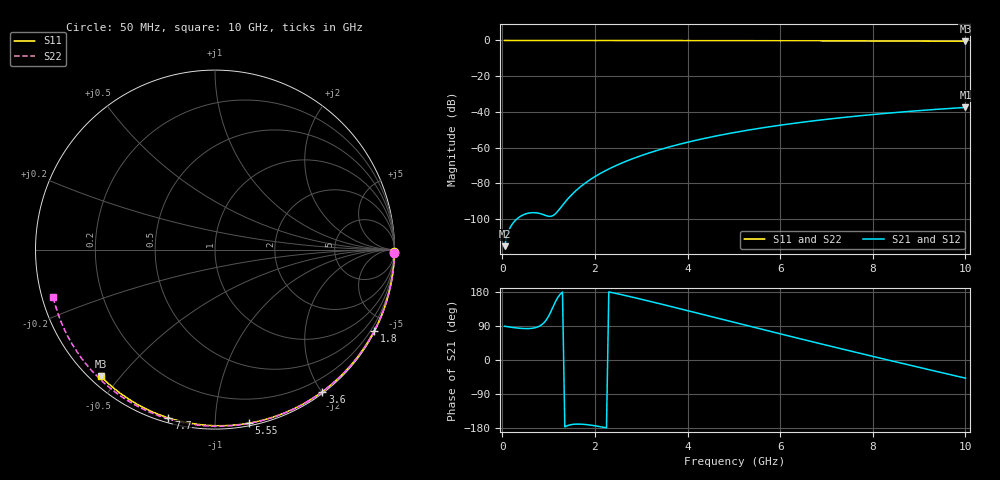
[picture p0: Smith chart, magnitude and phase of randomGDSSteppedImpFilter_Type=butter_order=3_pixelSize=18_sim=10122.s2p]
! freq	dB(S11)	phase(S11)	dB(S12)	phase(S12)
!  dB(S21)	phase(S21)	dB(S22)	phase(S22)
!S-par simulation data
#  GHz  S  DB  R 50
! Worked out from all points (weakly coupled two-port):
!   200 points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, 50 MHz to 10 GHz, reference 50 ohm
!   highest |S21| = -37.48 dB at 10 GHz (marker M1); lowest = -115.1 dB at 50 MHz (marker M2)
!   lowest |S11| = -0.4 dB at 10 GHz (marker M3), VSWR 39.09, Z = 1.53 - j22.3 ohm
!   |S11| at or under -10 dB: nowhere
!   |S22| runs from -0.5 to 0.0 dB; largest |S21 - S12| = 0
!   S11 on the Smith chart (normalised r, x): 50 MHz: open; 1.8 GHz: 0.04, -4.16; 3.6 GHz: 0.02, -2.01; 5.55 GHz: 0.02, -1.21; 7.7 GHz: 0.02, -0.76; 10 GHz: 0.03, -0.45
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0.05  -0.00 -0.8  -115.10 89.0  -115.10 89.0  -0.00 -1.0
0.45  -0.01 -6.9  -97.59 83.1  -97.59 83.1  -0.01 -8.6
0.85  -0.02 -12.9  -97.12 93.1  -97.12 93.1  -0.02 -16.1
1.3  -0.02 -19.6  -92.18 179.4  -92.18 179.4  -0.03 -24.5
1.75  -0.03 -26.3  -80.59 -169.7  -80.59 -169.7  -0.04 -32.7
1.8  -0.03 -27.0  -79.62 -170.2  -79.62 -170.2  -0.04 -33.6
1.95  -0.04 -29.3  -76.99 -172.6  -76.99 -172.6  -0.05 -36.4
2.1  -0.04 -31.4  -74.66 -175.6  -74.66 -175.6  -0.05 -39.1
2.3  -0.04 -34.4  -71.91 179.7  -71.91 179.7  -0.05 -42.7
2.5  -0.05 -37.3  -69.48 174.5  -69.48 174.5  -0.06 -46.3
2.9  -0.06 -43.0  -65.33 163.3  -65.33 163.3  -0.07 -53.3
3.4  -0.07 -50.1  -61.09 148.5  -61.09 148.5  -0.08 -62.0
3.6  -0.07 -52.9  -59.61 142.4  -59.61 142.4  -0.09 -65.4
4.3  -0.09 -62.5  -55.16 121.0  -55.16 121.0  -0.11 -77.1
5.05  -0.11 -72.5  -51.32 98.0  -51.32 98.0  -0.14 -89.3
5.55  -0.13 -79.0  -49.16 82.7  -49.16 82.7  -0.16 -97.1
6.1  -0.15 -86.0  -47.05 66.0  -47.05 66.0  -0.19 -105.6
6.7  -0.18 -93.4  -45.04 48.0  -45.04 48.0  -0.22 -114.7
7.7  -0.24 -105.5  -42.19 18.3  -42.19 18.3  -0.30 -129.6
8.35  -0.29 -113.1  -40.62 -0.6  -40.62 -0.6  -0.36 -139.2
9.2  -0.36 -122.9  -38.86 -25.1  -38.86 -25.1  -0.45 -151.7
10  -0.44 -131.9  -37.48 -47.9  -37.48 -47.9  -0.54 -163.8
